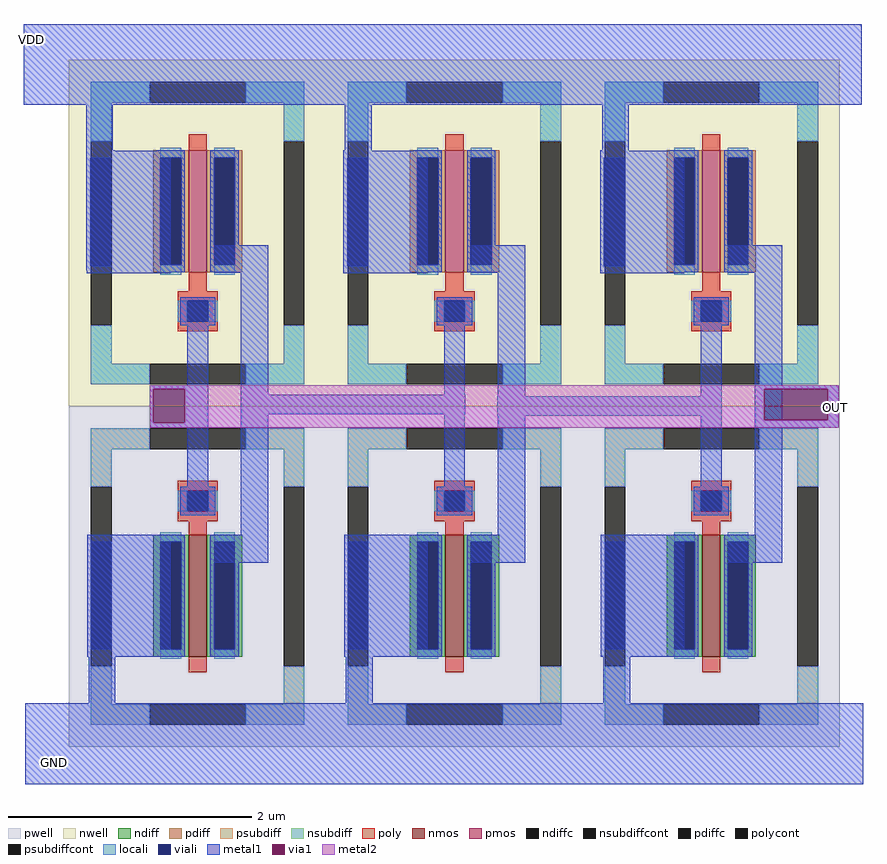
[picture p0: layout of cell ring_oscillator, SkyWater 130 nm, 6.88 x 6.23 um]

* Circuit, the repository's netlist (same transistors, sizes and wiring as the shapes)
** sch_path: /home/surya/Ring_Oscilator/ring_oscillator.sch
.subckt ring_oscillator vdd out gnd
*.PININFO vdd:B gnd:B out:O
x1 vdd out net1 gnd inverter
x2 vdd net1 net2 gnd inverter
x3 vdd net2 out gnd inverter
.ends

* expanding   symbol:  inverter.sym # of pins=4
** sym_path: /home/surya/Ring_Oscilator/inverter.sym
** sch_path: /home/surya/Ring_Oscilator/inverter.sch
.subckt inverter vdd in out gnd
*.PININFO vdd:I in:I gnd:I out:O
XM1 out in gnd gnd sky130_fd_pr__nfet_01v8 L=0.15 W=1 nf=1 m=1
XM2 out in vdd vdd sky130_fd_pr__pfet_01v8 L=0.15 W=1 nf=1 m=1
.ends

.end

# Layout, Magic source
magic
tech sky130A
magscale 1 2
<< metal1 >>
rect 296 2380 1670 2512
rect 398 2108 442 2380
rect 822 2104 866 2380
rect 1244 2104 1288 2380
rect 502 1914 564 1920
rect 502 1858 508 1914
rect 560 1858 564 1914
rect 1494 1914 1632 1920
rect 652 1872 1020 1904
rect 1072 1870 1440 1902
rect 502 1850 564 1858
rect 1494 1862 1510 1914
rect 1614 1862 1632 1914
rect 1494 1850 1632 1862
rect 402 1398 446 1668
rect 824 1398 868 1668
rect 1246 1398 1290 1672
rect 298 1266 1672 1398
<< via1 >>
rect 508 1858 560 1914
rect 1510 1862 1614 1914
<< metal2 >>
rect 502 1914 1632 1920
rect 502 1858 508 1914
rect 560 1862 1510 1914
rect 1614 1862 1632 1914
rect 560 1858 1632 1862
rect 502 1850 1632 1858
use inverter  x1
transform 1 0 423 0 1 1306
box -53 21 369 1147
use inverter  x2
transform 1 0 844 0 1 1306
box -53 21 369 1147
use inverter  x3
transform 1 0 1265 0 1 1306
box -53 21 369 1147
<< labels >>
flabel metal1 308 2486 308 2486 0 FreeSans 320 0 0 0 VDD
port 1 nsew
flabel metal2 1626 1884 1626 1884 0 FreeSans 320 0 0 0 OUT
port 2 nsew
flabel metal1 346 1302 346 1302 0 FreeSans 320 0 0 0 GND
port 3 nsew
<< end >>

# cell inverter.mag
magic
tech sky130A
magscale 1 2
<< pwell >>
rect -53 93 194 515
<< viali >>
rect -18 809 16 987
rect -17 181 17 357
<< metal1 >>
rect -24 998 22 999
rect -24 987 114 998
rect -24 809 -18 987
rect 16 809 114 987
rect -24 797 114 809
rect 186 798 274 843
rect 141 407 175 751
rect 229 369 274 798
rect -23 357 114 369
rect -23 181 -17 357
rect 17 181 114 357
rect 182 323 220 369
rect 222 323 274 369
rect -23 169 114 181
use sky130_fd_pr__nfet_01v8_64Z3AY  XM1
transform 1 0 158 0 1 300
box -211 -279 211 279
use sky130_fd_pr__pfet_01v8_LGS3BL  XM2
transform 1 0 158 0 1 863
box -211 -284 211 284
<< labels >>
flabel metal1 50 896 50 896 0 FreeSans 160 0 0 0 VDD
port 0 nsew
flabel metal1 43 300 43 300 0 FreeSans 160 0 0 0 GND
port 1 nsew
flabel metal1 157 579 157 579 0 FreeSans 160 0 0 0 IN
port 2 nsew
flabel metal1 253 579 253 579 0 FreeSans 160 0 0 0 OUT
port 3 nsew
<< end >>

# cell sky130_fd_pr__nfet_01v8_64Z3AY: kit device sky130_fd_pr__nfet_01v8, w 1.0 l 0.15 m 1 nf 1 diffcov 100 polycov 100 guard 1 glc 1 grc 1 gtc 1 gbc 1 tbcov 100 rlcov 100 topc 1 botc 0 poverlap 0 doverlap 1 lmin 0.15 wmin 0.42 compatible {sky130_fd_pr__nfet_01v8 sky130_fd_pr__nfet_01v8_lvt sky130_fd_bs_flash__special_sonosfet_star sky130_fd_pr__nfet_g5v0d10v5 sky130_fd_pr__nfet_05v0_nvt sky130_fd_pr__nfet_03v3_nvt} full_metal 1 viasrc 100 viadrn 100 viagate 100 viagb 0 viagr 0 viagl 0 viagt 0

# cell sky130_fd_pr__pfet_01v8_LGS3BL: kit device sky130_fd_pr__pfet_01v8, w 1.0 l 0.15 m 1 nf 1 diffcov 100 polycov 100 guard 1 glc 1 grc 1 gtc 1 gbc 1 tbcov 100 rlcov 100 topc 0 botc 1 poverlap 0 doverlap 1 lmin 0.15 wmin 0.42 compatible {sky130_fd_pr__pfet_01v8 sky130_fd_pr__pfet_01v8_lvt sky130_fd_pr__pfet_01v8_hvt sky130_fd_pr__pfet_g5v0d10v5} full_metal 1 viasrc 100 viadrn 100 viagate 100 viagb 0 viagr 0 viagl 0 viagt 0
